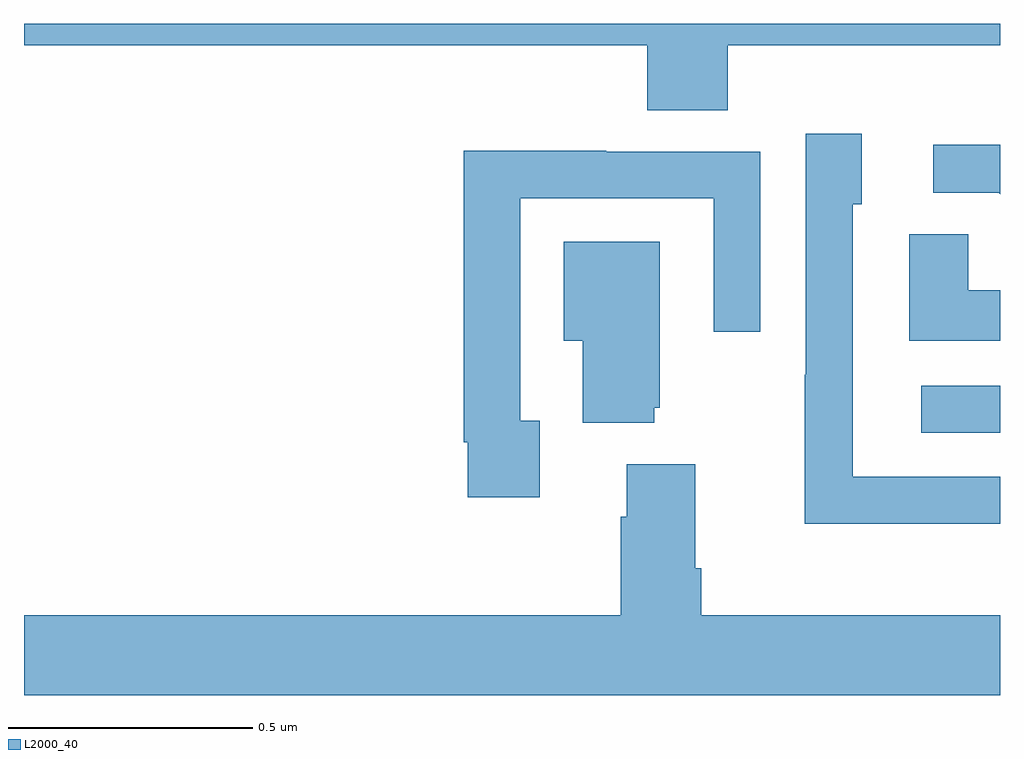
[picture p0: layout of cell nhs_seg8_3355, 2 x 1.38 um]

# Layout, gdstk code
import gdstk
lib = gdstk.Library(unit=1e-6, precision=1e-09)
def R(c, l, rs):  # rectangles x0, y0, x1, y1
    for r in rs: c.add(gdstk.rectangle(r[:2], r[2:], *l))
def P(c, l, *ps):  # polygons
    for p in ps: c.add(gdstk.Polygon(p, *l))
L2000_40 = (2000, 40)

nhs_seg8_3355 = lib.new_cell('nhs_seg8_3355')
R(nhs_seg8_3355, L2000_40, [(157.839,1093.062,158,1093.158)])
P(nhs_seg8_3355, L2000_40, [(157.442,1093.856),(158,1093.856),(158,1093.9),(156,1093.9),(156,1093.856),(157.277,1093.856),(157.277,1093.723),(157.442,1093.723)],
  [(158,1092.972),(157.698,1092.972),(157.698,1093.53),(157.717,1093.53),(157.717,1093.675),(157.602,1093.675),(157.602,1093.181),(157.6,1093.181),(157.6,1092.875),(158,1092.875)],
  [(158,1093.652),(157.863,1093.652),(157.863,1093.554),(157.997,1093.554),(158,1093.551)],
  [(157.057,1093.086),(157.017,1093.086),(157.017,1093.542),(157.413,1093.542),(157.413,1093.269),(157.509,1093.269),(157.509,1093.638),(157.193,1093.638),(157.193,1093.64),(156.901,1093.64),(156.901,1093.042),(156.909,1093.042),(156.909,1092.93),(157.057,1092.93)],
  [(158,1093.354),(157.935,1093.354),(157.935,1093.469),(157.814,1093.469),(157.814,1093.25),(158,1093.25)],
  [(157.292,1093.113),(157.303,1093.113),(157.303,1093.453),(157.106,1093.453),(157.106,1093.25),(157.145,1093.25),(157.145,1093.082),(157.292,1093.082)],
  [(158,1092.688),(157.388,1092.688),(157.388,1092.784),(157.375,1092.784),(157.375,1092.997),(157.235,1092.997),(157.235,1092.89),(157.223,1092.89),(157.223,1092.688),(156,1092.688),(156,1092.524),(158,1092.524)])

lib.write_gds('nhs_seg8_3355.gds')
